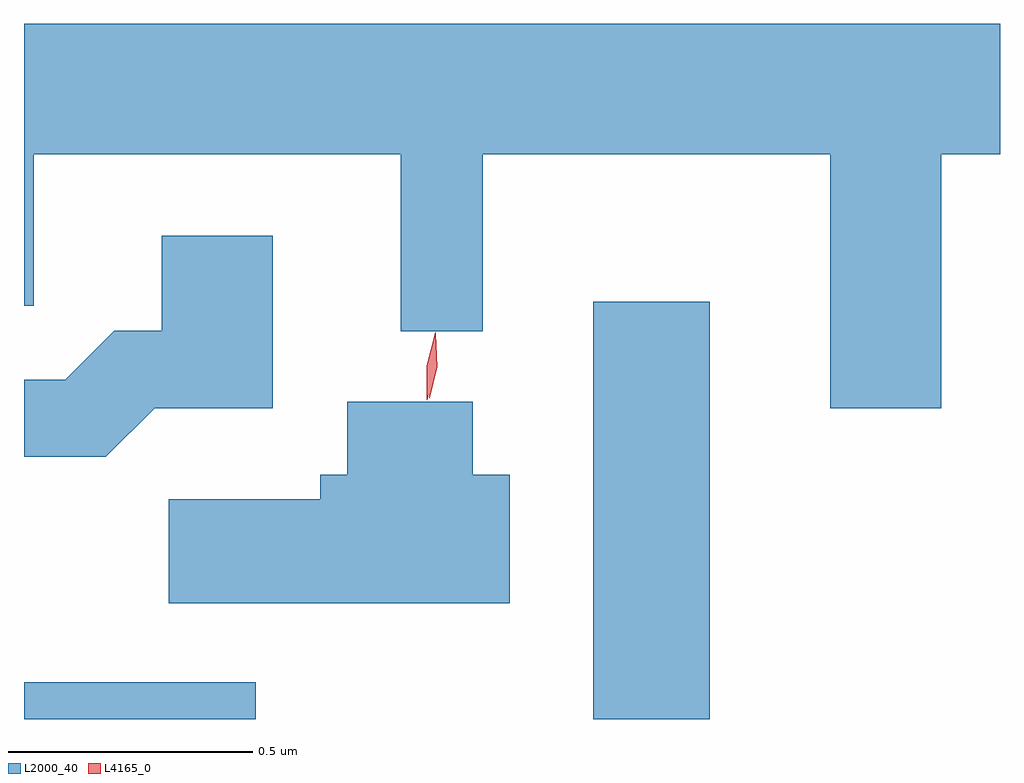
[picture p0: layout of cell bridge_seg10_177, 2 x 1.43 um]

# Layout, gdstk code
import gdstk
lib = gdstk.Library(unit=1e-6, precision=1e-09)
def R(c, l, rs):  # rectangles x0, y0, x1, y1
    for r in rs: c.add(gdstk.rectangle(r[:2], r[2:], *l))
def P(c, l, *ps):  # polygons
    for p in ps: c.add(gdstk.Polygon(p, *l))
L2000_40 = (2000, 40)
L4165_0 = (4165, 0)

bridge_seg10_177 = lib.new_cell('bridge_seg10_177')
R(bridge_seg10_177, L2000_40, [(1495.069,2132.738,1495.544,2132.814), (1496.236,2132.738,1496.474,2133.594)])
P(bridge_seg10_177, L2000_40, [(1496.949,2133.896),(1497.069,2133.896),(1497.069,2134.164),(1495.069,2134.164),(1495.069,2133.586),(1495.089,2133.586),(1495.089,2133.896),(1495.841,2133.896),(1495.841,2133.533),(1496.009,2133.533),(1496.009,2133.896),(1496.721,2133.896),(1496.721,2133.376),(1496.949,2133.376)],
  [(1495.337,2133.376),(1495.579,2133.376),(1495.579,2133.729),(1495.351,2133.729),(1495.351,2133.534),(1495.254,2133.534),(1495.154,2133.434),(1495.069,2133.434),(1495.069,2133.276),(1495.237,2133.276)],
  [(1496.064,2133.239),(1495.989,2133.239),(1495.989,2133.389),(1495.731,2133.389),(1495.731,2133.239),(1495.676,2133.239),(1495.676,2133.189),(1495.366,2133.189),(1495.366,2132.976),(1496.064,2132.976)])
P(bridge_seg10_177, L4165_0, [(1495.895,2133.392),(1495.894,2133.393),(1495.894,2133.463),(1495.912,2133.53),(1495.913,2133.531),(1495.913,2133.53),(1495.914,2133.46),(1495.895,2133.393)],
  [(1495.9,2133.396),(1495.899,2133.397),(1495.896,2133.463),(1495.912,2133.527),(1495.913,2133.528),(1495.913,2133.527),(1495.916,2133.461),(1495.9,2133.397)])

lib.write_gds('bridge_seg10_177.gds')
